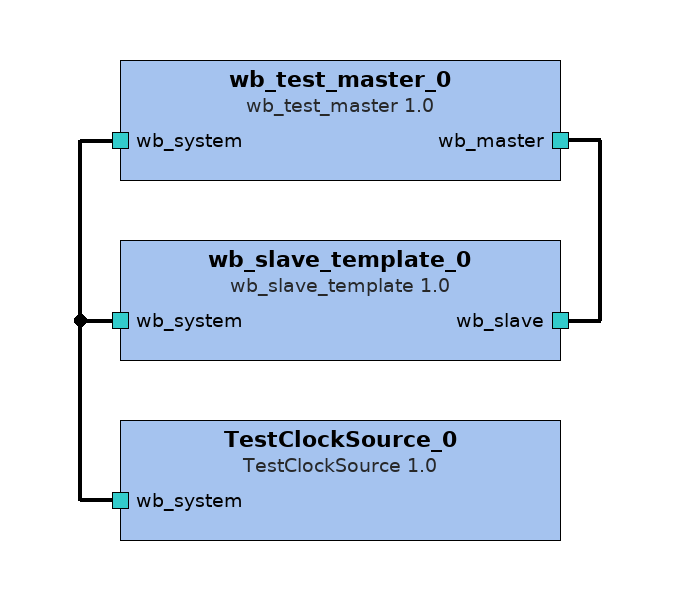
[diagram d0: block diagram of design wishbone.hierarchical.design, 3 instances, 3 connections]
<?xml version="1.0" encoding="UTF-8"?>
<ipxact:design xmlns:xsi="http://www.w3.org/2001/XMLSchema-instance" xmlns:ipxact="http://www.accellera.org/XMLSchema/IPXACT/1685-2014" xmlns:kactus2="http://kactus2.cs.tut.fi" xsi:schemaLocation="http://www.accellera.org/XMLSchema/IPXACT/1685-2014/ http://www.accellera.org/XMLSchema/IPXACT/1685-2014/index.xsd"><ipxact:vendor>tut.fi</ipxact:vendor><ipxact:library>test_bench</ipxact:library><ipxact:name>wishbone.hierarchical.design</ipxact:name>
 <ipxact:version>1.0</ipxact:version><ipxact:componentInstances>
 <ipxact:componentInstance><ipxact:instanceName>wb_test_master_0</ipxact:instanceName><ipxact:componentRef vendor="tut.fi" library="test_bench" name="wb_test_master" version="1.0"/></ipxact:componentInstance>
 <ipxact:componentInstance><ipxact:instanceName>wb_slave_template_0</ipxact:instanceName><ipxact:componentRef vendor="tut.fi" library="ip.hw" name="wb_slave_template" version="1.0"/></ipxact:componentInstance>
 <ipxact:componentInstance><ipxact:instanceName>TestClockSource_0</ipxact:instanceName><ipxact:componentRef vendor="tut.fi" library="test_bench" name="TestClockSource" version="1.0"/></ipxact:componentInstance>
</ipxact:componentInstances><ipxact:interconnections>
 <ipxact:interconnection><ipxact:name>TestClockSource_0_wb_system_to_wb_slave_template_0_wb_system</ipxact:name><ipxact:activeInterface componentRef="TestClockSource_0" busRef="wb_system"/><ipxact:activeInterface componentRef="wb_slave_template_0" busRef="wb_system"/></ipxact:interconnection>
 <ipxact:interconnection><ipxact:name>TestClockSource_0_wb_system_to_wb_test_master_0_wb_system</ipxact:name><ipxact:activeInterface componentRef="TestClockSource_0" busRef="wb_system"/><ipxact:activeInterface componentRef="wb_test_master_0" busRef="wb_system"/></ipxact:interconnection>
 <ipxact:interconnection><ipxact:name>wb_slave_template_0_wb_slave_to_wb_test_master_0_wb_master</ipxact:name><ipxact:activeInterface componentRef="wb_slave_template_0" busRef="wb_slave"/><ipxact:activeInterface componentRef="wb_test_master_0" busRef="wb_master"/></ipxact:interconnection>
</ipxact:interconnections></ipxact:design>

